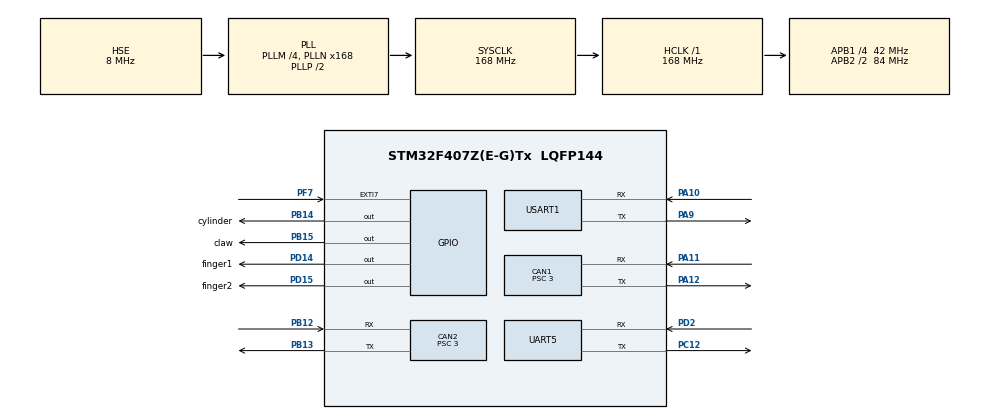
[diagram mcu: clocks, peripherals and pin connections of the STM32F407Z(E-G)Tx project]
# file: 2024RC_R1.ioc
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CAN1.ABOM=ENABLE
CAN1.BS1=CAN_BS1_9TQ
CAN1.BS2=CAN_BS2_4TQ
CAN1.CalculateBaudRate=1000000
CAN1.CalculateTimeBit=1000
CAN1.CalculateTimeQuantum=71.42857142857143
CAN1.Prescaler=3
CAN2.ABOM=ENABLE
CAN2.BS1=CAN_BS1_9TQ
CAN2.BS2=CAN_BS2_4TQ
CAN2.CalculateBaudRate=1000000
CAN2.CalculateTimeBit=1000
CAN2.CalculateTimeQuantum=71.42857142857143
CAN2.Prescaler=3
FREERTOS.Mutexes01=safe_printf,Dynamic,NULL
FREERTOS.Tasks01=defaultTask,24,512,StartDefaultTask,Default,NULL,Dynamic,NULL,NULL;MotorCtrl,8,512,MotorCtrlFunction,Default,NULL,Dynamic,NULL,NULL
Mcu.Family=STM32F4
Mcu.Name=STM32F407Z(E-G)Tx
Mcu.Package=LQFP144
NVIC.CAN1_RX0_IRQn=true\:5\:0\:true\:false\:true\:false\:true\:true\:true
NVIC.CAN1_RX1_IRQn=true\:5\:0\:true\:false\:true\:false\:true\:true\:true
NVIC.CAN1_SCE_IRQn=true\:5\:0\:true\:false\:true\:false\:true\:true\:true
NVIC.CAN1_TX_IRQn=true\:5\:0\:true\:false\:true\:false\:true\:true\:true
NVIC.CAN2_RX0_IRQn=true\:5\:0\:true\:false\:true\:false\:true\:true\:true
NVIC.CAN2_RX1_IRQn=true\:5\:0\:true\:false\:true\:false\:true\:true\:true
NVIC.CAN2_SCE_IRQn=true\:5\:0\:true\:false\:true\:false\:true\:true\:true
NVIC.CAN2_TX_IRQn=true\:5\:0\:true\:false\:true\:false\:true\:true\:true
NVIC.EXTI9_5_IRQn=true\:5\:0\:true\:false\:true\:false\:true\:true\:true
NVIC.PriorityGroup=NVIC_PRIORITYGROUP_4
NVIC.TIM2_IRQn=true\:5\:0\:false\:false\:true\:true\:true\:true\:true
NVIC.TIM3_IRQn=true\:15\:0\:false\:false\:true\:false\:false\:true\:true
NVIC.TimeBase=TIM3_IRQn
NVIC.TimeBaseIP=TIM3
NVIC.UART5_IRQn=true\:3\:0\:true\:false\:true\:false\:true\:true\:true
NVIC.USART1_IRQn=true\:3\:0\:true\:false\:true\:false\:true\:true\:true
PA10.Mode=Asynchronous
PA10.Signal=USART1_RX
PA11.Mode=CAN_Activate
PA11.Signal=CAN1_RX
PA12.Mode=CAN_Activate
PA12.Signal=CAN1_TX
PA13.Mode=Serial_Wire
PA13.Signal=SYS_JTMS-SWDIO
PA14.Mode=Serial_Wire
PA14.Signal=SYS_JTCK-SWCLK
PA9.Mode=Asynchronous
PA9.Signal=USART1_TX
PB12.Mode=CAN_Activate
PB12.Signal=CAN2_RX
PB13.Mode=CAN_Activate
PB13.Signal=CAN2_TX
PB14.GPIO_Label=cylinder
PB14.Signal=GPIO_Output
PB15.GPIO_Label=claw
PB15.Signal=GPIO_Output
PC12.Mode=Asynchronous
PC12.Signal=UART5_TX
PC14-OSC32_IN.Mode=LSE-External-Oscillator
PC14-OSC32_IN.Signal=RCC_OSC32_IN
PC15-OSC32_OUT.Mode=LSE-External-Oscillator
PC15-OSC32_OUT.Signal=RCC_OSC32_OUT
PD14.GPIO_Label=finger1
PD14.Signal=GPIO_Output
PD15.GPIO_Label=finger2
PD15.Signal=GPIO_Output
PD2.Mode=Asynchronous
PD2.Signal=UART5_RX
PF7.Signal=GPXTI7
PH0-OSC_IN.Mode=HSE-External-Oscillator
PH0-OSC_IN.Signal=RCC_OSC_IN
PH1-OSC_OUT.Mode=HSE-External-Oscillator
PH1-OSC_OUT.Signal=RCC_OSC_OUT
ProjectManager.HeapSize=0x200
ProjectManager.StackSize=0x400
ProjectManager.TargetToolchain=MDK-ARM V5.32
RCC.48MHZClocksFreq_Value=84000000
RCC.AHBFreq_Value=168000000
RCC.APB1CLKDivider=RCC_HCLK_DIV4
RCC.APB1Freq_Value=42000000
RCC.APB1TimFreq_Value=84000000
RCC.APB2CLKDivider=RCC_HCLK_DIV2
RCC.APB2Freq_Value=84000000
RCC.APB2TimFreq_Value=168000000
RCC.CortexFreq_Value=168000000
RCC.HCLKFreq_Value=168000000
RCC.HSE_VALUE=8000000
RCC.HSI_VALUE=16000000
RCC.PLLM=4
RCC.PLLN=168
RCC.PLLSourceVirtual=RCC_PLLSOURCE_HSE
RCC.SYSCLKFreq_VALUE=168000000
RCC.SYSCLKSource=RCC_SYSCLKSOURCE_PLLCLK
RCC.VCOOutputFreq_Value=336000000
TIM2.AutoReloadPreload=TIM_AUTORELOAD_PRELOAD_ENABLE
TIM2.Period=10000
TIM2.Prescaler=83
UART5.VirtualMode=Asynchronous
USART1.VirtualMode=VM_ASYNC
VP_FREERTOS_VS_CMSIS_V2.Mode=CMSIS_V2
VP_SYS_VS_tim3.Mode=TIM3
VP_TIM2_VS_ClockSourceINT.Mode=Internal
board=custom

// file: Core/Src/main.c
/* USER CODE BEGIN Header */
/**
  ******************************************************************************
  * @file           : main.c
  * @brief          : Main program body
  ******************************************************************************
  * @attention
  *
  * Copyright (c) 2023 STMicroelectronics.
  * All rights reserved.
  *
  * This software is licensed under terms that can be found in the LICENSE file
  * in the root directory of this software component.
  * If no LICENSE file comes with this software, it is provided AS-IS.
  *
  ******************************************************************************
  */
/* USER CODE END Header */
#include "main.h"
#include "cmsis_os.h"
#include "can.h"
#include "tim.h"
#include "usart.h"
#include "gpio.h"

/* USER CODE BEGIN Includes */
#include "air_joy.h"
/* USER CODE END Includes */

/* USER CODE BEGIN PTD */
//extern MOTOR_REAL_INFO motorRealInfo[7];
//extern PID_T MOTOR_PID_RPM[7]; //速度pid信息
//extern PID_T MOTOR_PID_POS[7];	//位置pid信息
/* USER CODE END PTD */

void SystemClock_Config(void);
void MX_FREERTOS_Init(void);

int main(void)
{

  /* MCU Configuration--------------------------------------------------------*/

  /* Reset of all peripherals, Initializes the Flash interface and the Systick. */
  HAL_Init();

  /* Configure the system clock */
  SystemClock_Config();

  /* Initialize all configured peripherals */
  MX_GPIO_Init();
  MX_CAN1_Init();
  MX_CAN2_Init();
  MX_TIM2_Init();
  MX_UART5_Init();
  MX_USART1_UART_Init();
  /* USER CODE BEGIN 2 */
  HAL_TIM_Base_Start_IT(&htim2);
  /* USER CODE END 2 */

  /* Init scheduler */
  osKernelInitialize();  /* Call init function for freertos objects (in freertos.c) */
  MX_FREERTOS_Init();

  /* Start scheduler */
  osKernelStart();

  /* We should never get here as control is now taken by the scheduler */
  /* Infinite loop */
  while (1)
  {

  }
}

void SystemClock_Config(void)
{
  RCC_OscInitTypeDef RCC_OscInitStruct = {0};
  RCC_ClkInitTypeDef RCC_ClkInitStruct = {0};

  /** Configure the main internal regulator output voltage
  */
  __HAL_RCC_PWR_CLK_ENABLE();
  __HAL_PWR_VOLTAGESCALING_CONFIG(PWR_REGULATOR_VOLTAGE_SCALE1);

  /** Initializes the RCC Oscillators according to the specified parameters
  * in the RCC_OscInitTypeDef structure.
  */
  RCC_OscInitStruct.OscillatorType = RCC_OSCILLATORTYPE_HSE;
  RCC_OscInitStruct.HSEState = RCC_HSE_ON;
  RCC_OscInitStruct.PLL.PLLState = RCC_PLL_ON;
  RCC_OscInitStruct.PLL.PLLSource = RCC_PLLSOURCE_HSE;
  RCC_OscInitStruct.PLL.PLLM = 4;
  RCC_OscInitStruct.PLL.PLLN = 168;
  RCC_OscInitStruct.PLL.PLLP = RCC_PLLP_DIV2;
  RCC_OscInitStruct.PLL.PLLQ = 4;
  if (HAL_RCC_OscConfig(&RCC_OscInitStruct) != HAL_OK)
  {
    Error_Handler();
  }

  /** Initializes the CPU, AHB and APB buses clocks
  */
  RCC_ClkInitStruct.ClockType = RCC_CLOCKTYPE_HCLK|RCC_CLOCKTYPE_SYSCLK
                              |RCC_CLOCKTYPE_PCLK1|RCC_CLOCKTYPE_PCLK2;
  RCC_ClkInitStruct.SYSCLKSource = RCC_SYSCLKSOURCE_PLLCLK;
  RCC_ClkInitStruct.AHBCLKDivider = RCC_SYSCLK_DIV1;
  RCC_ClkInitStruct.APB1CLKDivider = RCC_HCLK_DIV4;
  RCC_ClkInitStruct.APB2CLKDivider = RCC_HCLK_DIV2;

  if (HAL_RCC_ClockConfig(&RCC_ClkInitStruct, FLASH_LATENCY_5) != HAL_OK)
  {
    Error_Handler();
  }
}

/* USER CODE BEGIN 4 */
extern uint32_t TIME_ISR_CNT,LAST_TIME_ISR_CNT;
extern uint16_t Microsecond_Cnt;
extern uint16_t Time_Sys[4];
/* USER CODE END 4 */

void HAL_TIM_PeriodElapsedCallback(TIM_HandleTypeDef *htim)
{
  /* USER CODE BEGIN Callback 0 */
  if (htim->Instance == TIM2)
  {
      LAST_TIME_ISR_CNT = TIME_ISR_CNT;
      TIME_ISR_CNT++;
      Microsecond_Cnt++;
      if (Microsecond_Cnt >= 100)
      {
      Microsecond_Cnt = 0;
      Time_Sys[Second]++;
      if (Time_Sys[Second] >= 60)
      {
          Time_Sys[Second] = 0;
          Time_Sys[Minute]++;
          if (Time_Sys[Minute] >= 60)
          {
          Time_Sys[Minute] = 0;
          Time_Sys[Hour]++;
          }
      }
      }
      Time_Sys[MicroSecond] = Microsecond_Cnt;
  }
  /* USER CODE END Callback 0 */
  if (htim->Instance == TIM3) {
    HAL_IncTick();
  }
}

void Error_Handler(void)
{
  __disable_irq();
  while (1)
  {
  }
}

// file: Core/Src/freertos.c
/* USER CODE BEGIN Header */
/**
  ******************************************************************************
  * File Name          : freertos.c
  * Description        : Code for freertos applications
  ******************************************************************************
  * @attention
  *
  * Copyright (c) 2023 STMicroelectronics.
  * All rights reserved.
  *
  * This software is licensed under terms that can be found in the LICENSE file
  * in the root directory of this software component.
  * If no LICENSE file comes with this software, it is provided AS-IS.
  *
  ******************************************************************************
  */
/* USER CODE END Header */

#include "FreeRTOS.h"
#include "task.h"
#include "main.h"
#include "cmsis_os.h"

/* USER CODE BEGIN Includes */
#include "upper.h"
#include "chassis.h"
#include "pid.h"
#include "rm_motor.h"
#include "usr_can.h"
#include "air_joy.h"
#include "FSM.h"
/* USER CODE END Includes */

/* Definitions for defaultTask */
osThreadId_t defaultTaskHandle;
const osThreadAttr_t defaultTask_attributes = {
  .name = "defaultTask",
  .stack_size = 512 * 4,
  .priority = (osPriority_t) osPriorityNormal,
};
/* Definitions for MotorCtrl */
osThreadId_t MotorCtrlHandle;
const osThreadAttr_t MotorCtrl_attributes = {
  .name = "MotorCtrl",
  .stack_size = 512 * 4,
  .priority = (osPriority_t) osPriorityLow,
};
/* Definitions for safe_printf */
osMutexId_t safe_printfHandle;
const osMutexAttr_t safe_printf_attributes = {
  .name = "safe_printf"
};

/* USER CODE BEGIN FunctionPrototypes */
// void debug_safe_printf(const char *format, ...)
// {
// #if DEBUG_PRINTF_ENABLE

//   HAL_UART_MspInit(&huart5);

//   osStatus xReturn;
//   va_list args;
//   va_start(args,format);

//   xReturn = osMutexAcquire(safe_printfHandle,portMAX_DELAY);
//   if(xReturn == osOK)
//   {
//     vprintf(format, args);
//   }
//   xReturn = osMutexRelease(safe_printfHandle);

// #else
//   HAL_UART_MspDeInit(&huart5);
//   (void)0;
// #endif
// }
/* USER CODE END FunctionPrototypes */

void StartDefaultTask(void *argument);
void MotorCtrlFunction(void *argument);

void MX_FREERTOS_Init(void); /* (MISRA C 2004 rule 8.1) */

void MX_FREERTOS_Init(void) {
  /* Create the mutex(es) */
  /* creation of safe_printf */
  safe_printfHandle = osMutexNew(&safe_printf_attributes);

  /* Create the thread(s) */
  /* creation of defaultTask */
  defaultTaskHandle = osThreadNew(StartDefaultTask, NULL, &defaultTask_attributes);

  /* creation of MotorCtrl */
  MotorCtrlHandle = osThreadNew(MotorCtrlFunction, NULL, &MotorCtrl_attributes);

}

void StartDefaultTask(void *argument)
{
  for(;;)
  {
    osDelay(1);
  }
}

void MotorCtrlFunction(void *argument)
{
  /* USER CODE BEGIN MotorCtrlFunction */
	can_filter_init();
  R1_config();
	// ROBOT_CHASSIS_INIT();
	// chassis_motor_init();
	// Upper_INIT();

  /* Infinite loop */
  for(;;)
  {
//	  lift_motor(lift2top);
//	  belt_ctrl(100);
     fsm();
//    Homeing_Mode(&motorRealInfo[Motor_CLAW], 100, 512);
//        do
//        {
            // Homeing_Mode(&motorRealInfo[Motor_CLAW], 150, 8192);
            // Motor_Control();
//      if (motorRealInfo[Motor_CLAW].HomingMode.done_flag == 0){
//        Homeing_Mode(&motorRealInfo[Motor_CLAW], 1000, 8192);
//		Motor_Control();
//      }
//        } while (motorRealInfo[Motor_CLAW].HomingMode.done_flag != 1);
        // Vel_Torque_Control(&motorRealInfo[Motor_CLAW], , float Target_Vel)
//	  claw_motor(-270);
//	  if (SWD > 1500)
//    {
//      if(ABS(YaoGan_RIGHT_X - 1500) > 5){
//          float claw_pos = motorRealInfo[3].REAL_ANGLE;
//          claw_motor(claw_pos + ((YaoGan_RIGHT_X-1500)/10));
//      }
//      else if(ABS(YaoGan_RIGHT_X - 1500) <= 5){
//          claw_hold();
//      }
//    }
//	  claw_hold();
	  // free_ctrl();
    // chassis_kinematic();
//	belt_ctrl(8192);
//    claw_motor((SWB - 1500) / 3);
//    Motor_Control();
//	M3508_Send_Currents();
    osDelay(1);
  }
  /* USER CODE END MotorCtrlFunction */
}
